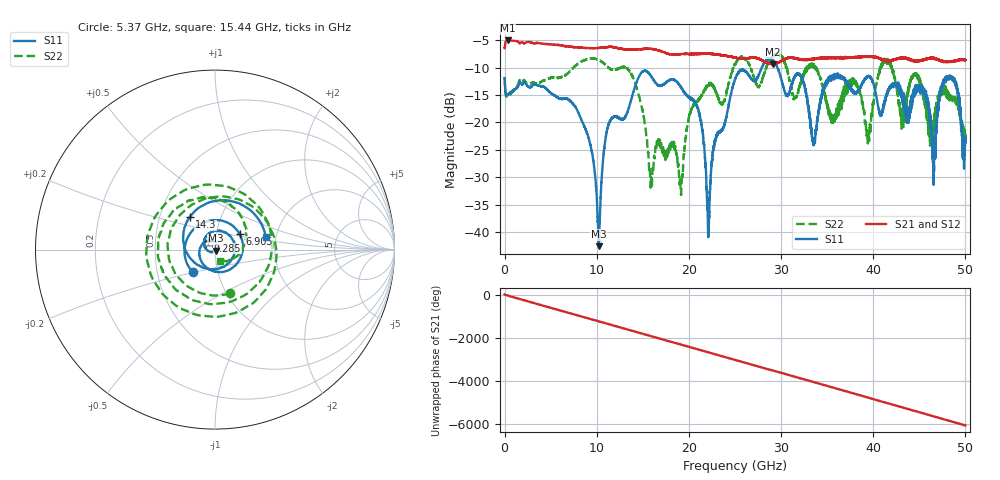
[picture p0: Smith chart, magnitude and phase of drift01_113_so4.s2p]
!Created with skrf (http://scikit-rf.org).
# Hz S RI R 50.0
!freq ReS11 ImS11 ReS21 ImS21 ReS12 ImS12 ReS22 ImS22
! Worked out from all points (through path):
!   10001 points, 300 kHz to 50 GHz, reference 50 ohm
!   highest |S21| = -5.05 dB at 330.3 MHz (marker M1); lowest = -9.4 dB at 29.08 GHz (marker M2)
!   group delay of S21, straight-line fit = 336 ps
!   lowest |S11| = -42.6 dB at 10.22 GHz (marker M3), VSWR 1.01, Z = 50.5 - j0.561 ohm
!   |S11| at or under -10 dB: start of sweep to 27.9 GHz; 29.6 GHz to end of sweep
!   |S22| runs from -33.2 to -7.5 dB; largest |S21 - S12| = 0.014
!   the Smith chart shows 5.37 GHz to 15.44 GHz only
!   S11 on the Smith chart (normalised r, x): 5.37 GHz: 0.76, -0.20; 6.905 GHz: 1.30, +0.23; 9.285 GHz: 0.92, +0.09; 14.3 GHz: 0.71, +0.27; 15.44 GHz: 1.77, +0.26
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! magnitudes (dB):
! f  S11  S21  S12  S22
! 300 kHz  -11.9  -6.5  -6.5  -11.7
! 330.3 MHz  -15.0  -5.1  -5.1  -15.3
! 5.37 GHz  -15.0  -5.9  -5.9  -11.8
! 6.905 GHz  -15.8  -6.1  -6.1  -11.0
! 8.335 GHz  -19.5  -6.4  -6.4  -8.9
! 9.285 GHz  -23.9  -6.5  -6.5  -8.4
! 10.22 GHz  -42.6  -6.4  -6.4  -8.6
! 11.23 GHz  -20.7  -6.3  -6.3  -9.9
! 14.3 GHz  -12.8  -6.7  -6.7  -13.5
! 15.44 GHz  -10.7  -6.6  -6.6  -22.9
! 16.67 GHz  -13.3  -6.9  -6.8  -23.4
! 19.14 GHz  -13.6  -7.5  -7.6  -33.1
! 20.85 GHz  -16.8  -7.5  -7.5  -16.1
! 22.13 GHz  -39.9  -7.5  -7.5  -13.3
! 25 GHz  -12.1  -8.2  -8.2  -9.5
! 29.08 GHz  -8.6  -9.4  -9.4  -8.0
! 33.34 GHz  -22.6  -8.5  -8.4  -9.5
! 39.47 GHz  -11.7  -8.0  -7.9  -22.0
! 41.67 GHz  -13.9  -8.7  -8.7  -9.1
! 46.55 GHz  -27.7  -8.3  -8.3  -19.9
! 48.53 GHz  -12.0  -8.9  -8.9  -15.6
! 50 GHz  -23.7  -8.6  -8.6  -23.1
